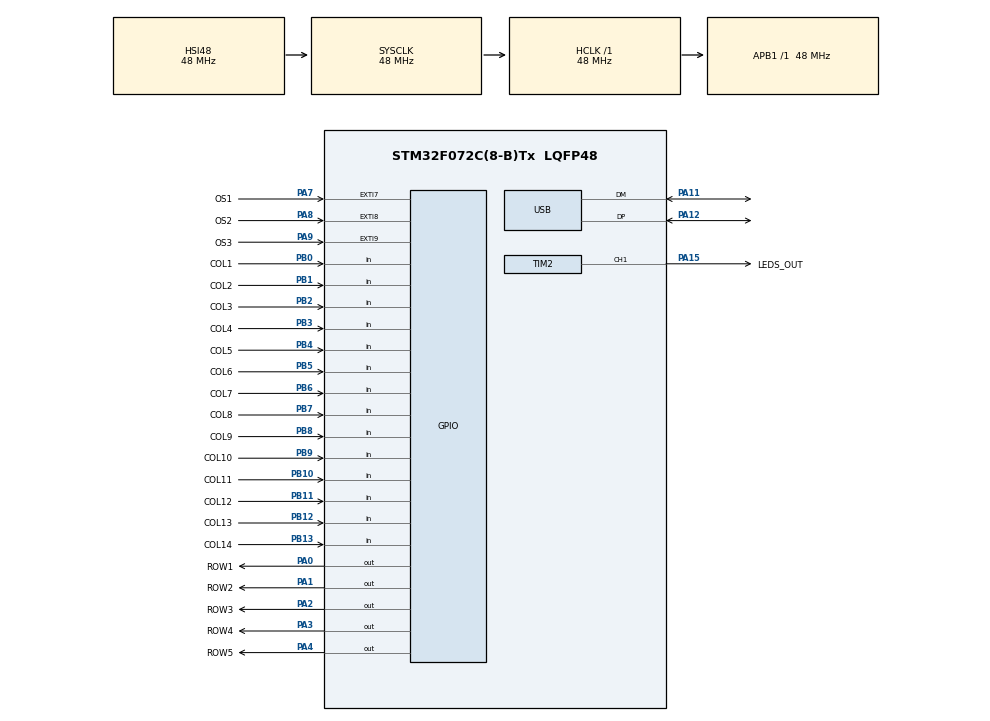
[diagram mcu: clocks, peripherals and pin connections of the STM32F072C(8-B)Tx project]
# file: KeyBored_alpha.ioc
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Dma.Request0=TIM2_CH1
Dma.TIM2_CH1.0.Direction=DMA_MEMORY_TO_PERIPH
Dma.TIM2_CH1.0.Instance=DMA1_Channel5
Dma.TIM2_CH1.0.MemDataAlignment=DMA_MDATAALIGN_BYTE
Dma.TIM2_CH1.0.MemInc=DMA_MINC_ENABLE
Dma.TIM2_CH1.0.Mode=DMA_CIRCULAR
Dma.TIM2_CH1.0.PeriphDataAlignment=DMA_PDATAALIGN_WORD
Dma.TIM2_CH1.0.PeriphInc=DMA_PINC_DISABLE
Dma.TIM2_CH1.0.Priority=DMA_PRIORITY_LOW
Mcu.Family=STM32F0
Mcu.Name=STM32F072C(8-B)Tx
Mcu.Package=LQFP48
NVIC.DMA1_Channel4_5_6_7_IRQn=true\:1\:0\:true\:false\:true\:false\:true\:true
NVIC.EXTI4_15_IRQn=true\:2\:0\:true\:false\:true\:true\:true\:true
NVIC.TIM14_IRQn=true\:2\:0\:true\:false\:true\:true\:true\:true
NVIC.USB_IRQn=true\:0\:0\:false\:false\:true\:false\:true\:true
PA0.GPIO_Label=ROW1
PA0.Signal=GPIO_Output
PA1.GPIO_Label=ROW2
PA1.Signal=GPIO_Output
PA11.Mode=Device
PA11.Signal=USB_DM
PA12.Mode=Device
PA12.Signal=USB_DP
PA13.Mode=Serial_Wire
PA13.Signal=SYS_SWDIO
PA14.Mode=Serial_Wire
PA14.Signal=SYS_SWCLK
PA15.GPIO_Label=LEDS_OUT
PA15.Signal=S_TIM2_CH1_ETR
PA2.GPIO_Label=ROW3
PA2.Signal=GPIO_Output
PA3.GPIO_Label=ROW4
PA3.Signal=GPIO_Output
PA4.GPIO_Label=ROW5
PA4.Signal=GPIO_Output
PA6.GPIO_Label=LEDS_STAT
PA6.Signal=S_TIM3_CH1
PA7.GPIO_Label=OS1
PA7.GPIO_ModeDefaultEXTI=GPIO_MODE_IT_FALLING
PA7.Signal=GPXTI7
PA8.GPIO_Label=OS2
PA8.GPIO_ModeDefaultEXTI=GPIO_MODE_IT_FALLING
PA8.Signal=GPXTI8
PA9.GPIO_Label=OS3
PA9.GPIO_ModeDefaultEXTI=GPIO_MODE_IT_FALLING
PA9.Signal=GPXTI9
PB0.GPIO_Label=COL1
PB0.GPIO_PuPd=GPIO_PULLUP
PB0.Signal=GPIO_Input
PB1.GPIO_Label=COL2
PB1.GPIO_PuPd=GPIO_PULLUP
PB1.Signal=GPIO_Input
PB10.GPIO_Label=COL11
PB10.GPIO_PuPd=GPIO_PULLUP
PB10.Signal=GPIO_Input
PB11.GPIO_Label=COL12
PB11.GPIO_PuPd=GPIO_PULLUP
PB11.Signal=GPIO_Input
PB12.GPIO_Label=COL13
PB12.GPIO_PuPd=GPIO_PULLUP
PB12.Signal=GPIO_Input
PB13.GPIO_Label=COL14
PB13.GPIO_PuPd=GPIO_PULLUP
PB13.Signal=GPIO_Input
PB2.GPIO_Label=COL3
PB2.GPIO_PuPd=GPIO_PULLUP
PB2.Signal=GPIO_Input
PB3.GPIO_Label=COL4
PB3.GPIO_PuPd=GPIO_PULLUP
PB3.Signal=GPIO_Input
PB4.GPIO_Label=COL5
PB4.GPIO_PuPd=GPIO_PULLUP
PB4.Signal=GPIO_Input
PB5.GPIO_Label=COL6
PB5.GPIO_PuPd=GPIO_PULLUP
PB5.Signal=GPIO_Input
PB6.GPIO_Label=COL7
PB6.GPIO_PuPd=GPIO_PULLUP
PB6.Signal=GPIO_Input
PB7.GPIO_Label=COL8
PB7.GPIO_PuPd=GPIO_PULLUP
PB7.Signal=GPIO_Input
PB8.GPIO_Label=COL9
PB8.GPIO_PuPd=GPIO_PULLUP
PB8.Signal=GPIO_Input
PB9.GPIO_Label=COL10
PB9.GPIO_PuPd=GPIO_PULLUP
PB9.Signal=GPIO_Input
ProjectManager.HeapSize=0x200
ProjectManager.StackSize=0x400
ProjectManager.TargetToolchain=STM32CubeIDE
RCC.AHBFreq_Value=48000000
RCC.APB1Freq_Value=48000000
RCC.APB1TimFreq_Value=48000000
RCC.HCLKFreq_Value=48000000
RCC.SYSCLKFreq_VALUE=48000000
RCC.SYSCLKSource=RCC_SYSCLKSOURCE_HSI48
SH.S_TIM2_CH1_ETR.0=TIM2_CH1,PWM Generation1 CH1
SH.S_TIM3_CH1.0=TIM3_CH1
TIM14.Period=47999
TIM2.Channel-PWM\ Generation1\ CH1=TIM_CHANNEL_1
TIM2.Period=59
USB_DEVICE.CLASS_NAME_FS=CUSTOM_HID
USB_DEVICE.CUSTOM_HID_FS_BINTERVAL=0x01
USB_DEVICE.MANUFACTURER_STRING=KeyBored
USB_DEVICE.PRODUCT_STRING_CUSTOMHID_FS=KeyBored_alpha
USB_DEVICE.USBD_CUSTOMHID_OUTREPORT_BUF_SIZE=64
USB_DEVICE.USBD_CUSTOM_HID_REPORT_DESC_SIZE=113
USB_DEVICE.VirtualMode=CustomHid
USB_DEVICE.VirtualModeFS=Custom_Hid_FS
VP_TIM14_VS_ClockSourceINT.Mode=Enable_Timer
VP_TIM2_VS_ClockSourceINT.Mode=Internal
VP_USB_DEVICE_VS_USB_DEVICE_CUSTOM_HID_FS.Mode=CUSTOM_HID_FS
board=custom

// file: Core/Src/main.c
/* USER CODE BEGIN Header */
/**
  ******************************************************************************
  * @file           : main.c
  * @brief          : Main program body
  ******************************************************************************
  * @attention
  *
  * Copyright (c) 2025 STMicroelectronics.
  * All rights reserved.
  *
  * This software is licensed under terms that can be found in the LICENSE file
  * in the root directory of this software component.
  * If no LICENSE file comes with this software, it is provided AS-IS.
  *
  ******************************************************************************
  */
/* USER CODE END Header */
#include "main.h"
#include "usb_device.h"

/* USER CODE BEGIN Includes */
#include <stdbool.h>

#include "pilote_ROW.h"
#include "pilote_COL.h"
#include "pilote_SK6803.h"
#include "pilote_Timer14_1ms.h"

#include "interfaceMatrice.h"
#include "interfaceDebouncing.h"
#include "interface_RGB.h"
#include "interface_Key_Config.h"

#include "ServiceBaseTemps_1ms.h"

#include "Processus_LEDS.h"
#include "Processus_Keys.h"

/* USER CODE END Includes */

TIM_HandleTypeDef htim2;
TIM_HandleTypeDef htim14;
DMA_HandleTypeDef hdma_tim2_ch1;

void SystemClock_Config(void);
static void MX_GPIO_Init(void);
static void MX_DMA_Init(void);
static void MX_TIM2_Init(void);
static void MX_TIM14_Init(void);

/* USER CODE BEGIN 0 */

void Main_Init(void)
{
	piloteTimer14_initialise();
	serviceBaseDeTemps_initialise();
	InterfaceMatrice_Init();
	InterfaceDebouncing_Init();
	ProcessusKeys_Init();
	ProcessusLEDS_init();
}

void doNothing(void){}

/* USER CODE END 0 */

int main(void)
{

  /* MCU Configuration--------------------------------------------------------*/

  /* Reset of all peripherals, Initializes the Flash interface and the Systick. */
  HAL_Init();

  /* USER CODE BEGIN Init */

  Main_Init();

  /* USER CODE END Init */

  /* Configure the system clock */
  SystemClock_Config();

  /* Initialize all configured peripherals */
  MX_GPIO_Init();
  MX_DMA_Init();
  MX_TIM2_Init();
  MX_USB_DEVICE_Init();
  MX_TIM14_Init();
  /* USER CODE BEGIN 2 */

  Key_Config_Init();
  piloteTimer14_permetLesInterruptions();

  /* USER CODE END 2 */

  /* Infinite loop */
  while (1)
  {

  }
}

void SystemClock_Config(void)
{
  RCC_OscInitTypeDef RCC_OscInitStruct = {0};
  RCC_ClkInitTypeDef RCC_ClkInitStruct = {0};
  RCC_PeriphCLKInitTypeDef PeriphClkInit = {0};

  /** Initializes the RCC Oscillators according to the specified parameters
  * in the RCC_OscInitTypeDef structure.
  */
  RCC_OscInitStruct.OscillatorType = RCC_OSCILLATORTYPE_HSI48;
  RCC_OscInitStruct.HSI48State = RCC_HSI48_ON;
  RCC_OscInitStruct.PLL.PLLState = RCC_PLL_NONE;
  if (HAL_RCC_OscConfig(&RCC_OscInitStruct) != HAL_OK)
  {
    Error_Handler();
  }

  /** Initializes the CPU, AHB and APB buses clocks
  */
  RCC_ClkInitStruct.ClockType = RCC_CLOCKTYPE_HCLK|RCC_CLOCKTYPE_SYSCLK
                              |RCC_CLOCKTYPE_PCLK1;
  RCC_ClkInitStruct.SYSCLKSource = RCC_SYSCLKSOURCE_HSI48;
  RCC_ClkInitStruct.AHBCLKDivider = RCC_SYSCLK_DIV1;
  RCC_ClkInitStruct.APB1CLKDivider = RCC_HCLK_DIV1;

  if (HAL_RCC_ClockConfig(&RCC_ClkInitStruct, FLASH_LATENCY_1) != HAL_OK)
  {
    Error_Handler();
  }
  PeriphClkInit.PeriphClockSelection = RCC_PERIPHCLK_USB;
  PeriphClkInit.UsbClockSelection = RCC_USBCLKSOURCE_HSI48;

  if (HAL_RCCEx_PeriphCLKConfig(&PeriphClkInit) != HAL_OK)
  {
    Error_Handler();
  }
}

static void MX_TIM2_Init(void)
{

  TIM_ClockConfigTypeDef sClockSourceConfig = {0};
  TIM_MasterConfigTypeDef sMasterConfig = {0};
  TIM_OC_InitTypeDef sConfigOC = {0};

  htim2.Instance = TIM2;
  htim2.Init.Prescaler = 0;
  htim2.Init.CounterMode = TIM_COUNTERMODE_UP;
  htim2.Init.Period = 59;
  htim2.Init.ClockDivision = TIM_CLOCKDIVISION_DIV1;
  htim2.Init.AutoReloadPreload = TIM_AUTORELOAD_PRELOAD_DISABLE;
  if (HAL_TIM_Base_Init(&htim2) != HAL_OK)
  {
    Error_Handler();
  }
  sClockSourceConfig.ClockSource = TIM_CLOCKSOURCE_INTERNAL;
  if (HAL_TIM_ConfigClockSource(&htim2, &sClockSourceConfig) != HAL_OK)
  {
    Error_Handler();
  }
  if (HAL_TIM_PWM_Init(&htim2) != HAL_OK)
  {
    Error_Handler();
  }
  sMasterConfig.MasterOutputTrigger = TIM_TRGO_RESET;
  sMasterConfig.MasterSlaveMode = TIM_MASTERSLAVEMODE_DISABLE;
  if (HAL_TIMEx_MasterConfigSynchronization(&htim2, &sMasterConfig) != HAL_OK)
  {
    Error_Handler();
  }
  sConfigOC.OCMode = TIM_OCMODE_PWM1;
  sConfigOC.Pulse = 0;
  sConfigOC.OCPolarity = TIM_OCPOLARITY_HIGH;
  sConfigOC.OCFastMode = TIM_OCFAST_DISABLE;
  if (HAL_TIM_PWM_ConfigChannel(&htim2, &sConfigOC, TIM_CHANNEL_1) != HAL_OK)
  {
    Error_Handler();
  }
  HAL_TIM_MspPostInit(&htim2);

}

static void MX_TIM14_Init(void)
{

  htim14.Instance = TIM14;
  htim14.Init.Prescaler = 0;
  htim14.Init.CounterMode = TIM_COUNTERMODE_UP;
  htim14.Init.Period = 47999;
  htim14.Init.ClockDivision = TIM_CLOCKDIVISION_DIV1;
  htim14.Init.AutoReloadPreload = TIM_AUTORELOAD_PRELOAD_DISABLE;
  if (HAL_TIM_Base_Init(&htim14) != HAL_OK)
  {
    Error_Handler();
  }

}

static void MX_DMA_Init(void)
{

  /* DMA controller clock enable */
  __HAL_RCC_DMA1_CLK_ENABLE();

  /* DMA interrupt init */
  /* DMA1_Channel4_5_6_7_IRQn interrupt configuration */
  HAL_NVIC_SetPriority(DMA1_Channel4_5_6_7_IRQn, 1, 0);
  HAL_NVIC_EnableIRQ(DMA1_Channel4_5_6_7_IRQn);

}

static void MX_GPIO_Init(void)
{
  GPIO_InitTypeDef GPIO_InitStruct = {0};

  /* GPIO Ports Clock Enable */
  __HAL_RCC_GPIOA_CLK_ENABLE();
  __HAL_RCC_GPIOB_CLK_ENABLE();

  /*Configure GPIO pin Output Level */
  HAL_GPIO_WritePin(GPIOA, ROW1_Pin|ROW2_Pin|ROW3_Pin|ROW4_Pin
                          |ROW5_Pin, GPIO_PIN_RESET);

  /*Configure GPIO pins : ROW1_Pin ROW2_Pin ROW3_Pin ROW4_Pin
                           ROW5_Pin */
  GPIO_InitStruct.Pin = ROW1_Pin|ROW2_Pin|ROW3_Pin|ROW4_Pin
                          |ROW5_Pin;
  GPIO_InitStruct.Mode = GPIO_MODE_OUTPUT_PP;
  GPIO_InitStruct.Pull = GPIO_NOPULL;
  GPIO_InitStruct.Speed = GPIO_SPEED_FREQ_LOW;
  HAL_GPIO_Init(GPIOA, &GPIO_InitStruct);

  /*Configure GPIO pin : LEDS_STAT_Pin */
  GPIO_InitStruct.Pin = LEDS_STAT_Pin;
  GPIO_InitStruct.Mode = GPIO_MODE_AF_PP;
  GPIO_InitStruct.Pull = GPIO_NOPULL;
  GPIO_InitStruct.Speed = GPIO_SPEED_FREQ_LOW;
  GPIO_InitStruct.Alternate = GPIO_AF1_TIM3;
  HAL_GPIO_Init(LEDS_STAT_GPIO_Port, &GPIO_InitStruct);

  /*Configure GPIO pins : OS1_Pin OS2_Pin OS3_Pin */
  GPIO_InitStruct.Pin = OS1_Pin|OS2_Pin|OS3_Pin;
  GPIO_InitStruct.Mode = GPIO_MODE_IT_FALLING;
  GPIO_InitStruct.Pull = GPIO_NOPULL;
  HAL_GPIO_Init(GPIOA, &GPIO_InitStruct);

  /*Configure GPIO pins : COL1_Pin COL2_Pin COL3_Pin COL11_Pin
                           COL12_Pin COL13_Pin COL14_Pin COL4_Pin
                           COL5_Pin COL6_Pin COL7_Pin COL8_Pin
                           COL9_Pin COL10_Pin */
  GPIO_InitStruct.Pin = COL1_Pin|COL2_Pin|COL3_Pin|COL11_Pin
                          |COL12_Pin|COL13_Pin|COL14_Pin|COL4_Pin
                          |COL5_Pin|COL6_Pin|COL7_Pin|COL8_Pin
                          |COL9_Pin|COL10_Pin;
  GPIO_InitStruct.Mode = GPIO_MODE_INPUT;
  GPIO_InitStruct.Pull = GPIO_PULLUP;
  HAL_GPIO_Init(GPIOB, &GPIO_InitStruct);

  /* EXTI interrupt init*/
  HAL_NVIC_SetPriority(EXTI4_15_IRQn, 2, 0);
  HAL_NVIC_EnableIRQ(EXTI4_15_IRQn);

}

void Error_Handler(void)
{
  __disable_irq();
  while (1)
  {
  }
}
